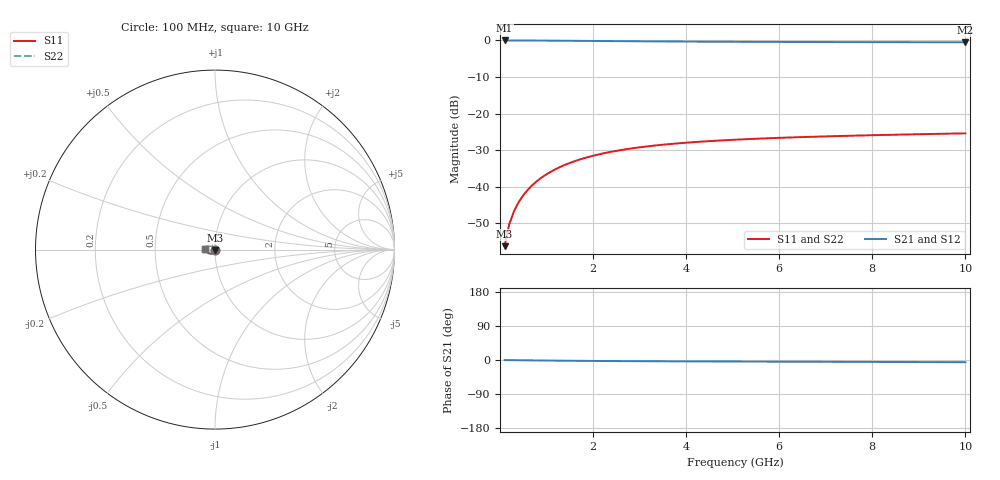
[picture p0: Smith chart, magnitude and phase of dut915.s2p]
! Touchstone file exported from HFSS 2024.1.0
!  File:  C:/UserFiles/LocalFiles/RDL_TSV_Batchsim/temp_TSV1_915_1779945560.aedt
!  Generated:  01:25:44 PM May 28, 2026
!  Design:  TSV1
!  Project:  temp_TSV1_915_1779945560
!  Setup:  Setup1
!  Solution:  Sweep
! Variables:
!  dtsv = 11.61um
!  hbump = 3um
!  htsv = 90.33um
!  lrdl = 252.1521522um
!  p = 40
!  p1 = 57.89um
!  t = 500um
!  trdl = 3um
!  wrdl = 24.89489489um
# GHz S MA R 50.000000
! Terminal data exported
! Port[1] = TSV22_T1
! Port[2] = TSV22_T2
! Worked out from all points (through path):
!   100 points, 100 MHz to 10 GHz, reference 50 ohm
!   highest |S21| = 0.00 dB at 100 MHz (marker M1); lowest = -0.5 dB at 10 GHz (marker M2)
!   lowest |S11| = -56.3 dB at 100 MHz (marker M3), VSWR 1.00, Z = 50 - j0.153 ohm
!   |S11| at or under -10 dB: start of sweep to end of sweep
!   |S22| runs from -56.3 to -25.4 dB; largest |S21 - S12| = 6.3e-15
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0.1  0.001532 -87.7  0.9998 -0.2  0.9998 -0.2  0.001532 -87.7
! Gamma 0 0 0 0
! Port Impedance 50 0 50 0
0.2  0.003056 -91.7  0.9997 -0.3  0.9997 -0.3  0.003056 -91.7
0.3  0.004579 -94.3  0.9994 -0.4  0.9994 -0.4  0.004579 -94.3
0.4  0.006093 -96.6  0.999 -0.6  0.999 -0.6  0.006093 -96.6
0.5  0.007595 -98.7  0.9985 -0.7  0.9985 -0.7  0.007595 -98.7
0.6  0.009078 -100.8  0.9979 -0.9  0.9979 -0.9  0.009078 -100.8
0.7  0.01054 -102.9  0.9973 -1.0  0.9973 -1.0  0.01054 -102.9
0.8  0.01197 -104.9  0.9966 -1.2  0.9966 -1.2  0.01197 -104.9
0.9  0.01338 -106.8  0.9958 -1.3  0.9958 -1.3  0.01338 -106.8
1.1  0.01609 -110.6  0.994 -1.5  0.994 -1.5  0.01609 -110.6
1.4  0.01988 -116.0  0.991 -1.9  0.991 -1.9  0.01988 -116.0
1.6  0.02222 -119.4  0.9889 -2.1  0.9889 -2.1  0.02222 -119.4
1.8  0.0244 -122.7  0.9866 -2.3  0.9866 -2.3  0.0244 -122.7
2.1  0.02739 -127.3  0.9833 -2.5  0.9833 -2.5  0.02739 -127.3
2.5  0.03086 -133.0  0.9789 -2.8  0.9789 -2.8  0.03086 -133.0
2.9  0.03381 -138.1  0.9748 -3.1  0.9748 -3.1  0.03381 -138.1
3.4  0.0369 -143.8  0.9702 -3.4  0.9702 -3.4  0.0369 -143.8
4.2  0.04076 -151.7  0.964 -3.7  0.964 -3.7  0.04076 -151.7
5.1  0.04399 -159.2  0.9586 -4.1  0.9586 -4.1  0.04399 -159.2
6.7  0.04806 -169.8  0.9519 -4.6  0.9519 -4.6  0.04806 -169.8
8.4  0.05117 -178.9  0.9474 -5.2  0.9474 -5.2  0.05117 -178.9
10  0.05357 174.0  0.9445 -5.8  0.9445 -5.8  0.05358 174.0
